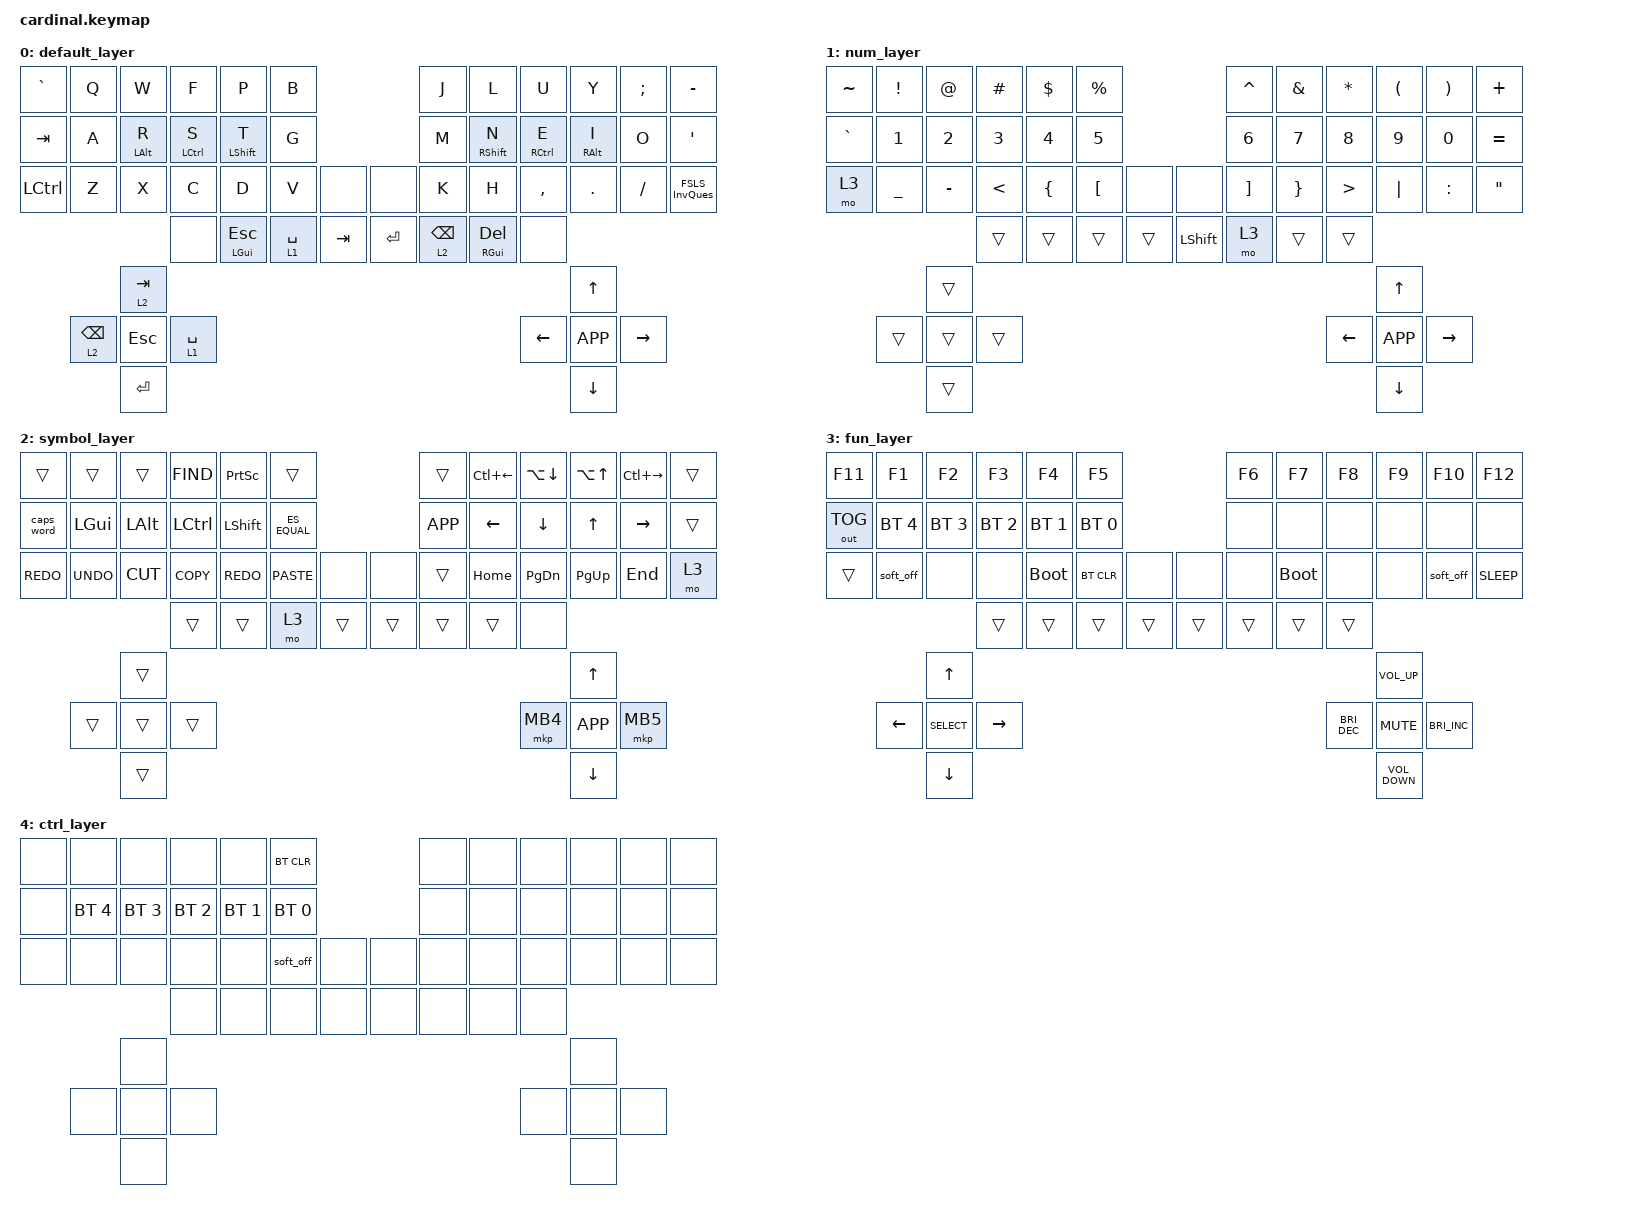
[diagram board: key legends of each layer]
//Personal keymap, subject to weird things, heavy use of helpers intended, and sticky keys, and use with spanish layout, 
// im sorry but having in the same key (,;) and (.:) its way better than (,<) and (.>), other things may not make sense

#include "keys_es.h"

//Support for key helpers, hillside fits perfectly because of the 42 base keys plus the encoders,
// LH4, RH4, LH3 and RH3 are the encoders clickdown

#include "zmk-helpers/helper.h"
#include "zmk-helpers/key-labels/hillside46.h"
#include <dt-bindings/zmk/mouse.h>
#include <behaviors.dtsi>
#include <dt-bindings/zmk/bt.h>
#include <dt-bindings/zmk/keys.h>
#include <dt-bindings/zmk/outputs.h>
#include <dt-bindings/zmk/pointing.h>

// ╭─────────────────────────╮       ╭─────────────────────────╮
// │ LT5 LT4 LT3 LT2 LT1 LT0 │       │ RT0 RT1 RT2 RT3 RT4 RT5 │
// │ LM5 LM4 LM3 LM2 LM1 LM0 ╰──╮ ╭──╯ RM0 RM1 RM2 RM3 RM4 RM5 │
// │ LB5 LB4 LB3 LB2 LB1 LB0 LH4╰┬╯RH4 RB0 RB1 RB2 RB3 RB4 RB5 │
// ╰───────────╮ LH3 LH2 LH1 LH0 │ RH0 RH1 RH2 RH3 ╭───────────╯
//             ╰─────────────────┴─────────────────╯
// Also defining helpers for the 5-way switches, just in case I need then(probably not)

#define LU  46
#define LD  54
#define LL  48
#define LR  50
#define LCenter  49
#define RU  47
#define RD  55
#define RL  51
#define RR  53
#define RCenter  52

// Interesting feature, usefull for cases with hard to reach on/off switches

&soft_off {
    hold-time-ms = <5000>; // Only turn off it the key is held for 5 seconds or longer.
};

/ {
    combos {
        compatible = "zmk,combos";

        ctrlayer {
            timeout-ms = <70>;
            key-positions = <LH2 RH2>;
            bindings = <&sl 4>;
        };

        funlayerR {
            timeout-ms = <70>;
            key-positions = <RH2 RH1>;
            bindings = <&sl 3>;
        };

        funlayerL {
            timeout-ms = <70>;
            key-positions = <LH2 LH1>;
            bindings = <&sl 3>;
        };
    };

    behaviors {
        change_tab: change_tab {
            compatible = "zmk,behavior-sensor-rotate";
            #sensor-binding-cells = <0>;
            bindings = <&kp LC(LS(TAB))>, <&kp LC(TAB)>;
        };

        shcps: shcps {
            compatible = "zmk,behavior-hold-tap";
            bindings = <&kp>, <&sk>;

            #binding-cells = <2>;
            flavor = "tap-preferred";
            tapping-term-ms = <200>;
            quick-tap-ms = <125>;
        };

        es_til_sqt: es_tilde_squote {
            //Custom tap dance, in spanish tilde (á) is common, not so much squote(I'm) so this convines both keys with similar usages, 
            //also integrates ? into the mix(shifted squote) which is pretty nice imho 

            compatible = "zmk,behavior-tap-dance";
            #binding-cells = <0>;
            tapping-term-ms = <180>;
            bindings = <&kp ES_ACUTE>, <&kp ES_SQT>;
        };

        smart_shift: smart_shift {
            compatible = "zmk,behavior-tap-dance";
            #binding-cells = <0>;
            tapping-term-ms = <180>;
            bindings = <&sk LSHFT>, <&caps_word>;
        };

        FSLS_InvQues: FSLS_InvQues {
            compatible = "zmk,behavior-mod-morph";
            label = "\¿";
            bindings = <&kp BSLH>, <&kp ES_INVERTED_QUESTION>;

            #binding-cells = <0>;
            mods = <(MOD_LSFT)>;
        };

        rpiL: rpiL {
            compatible = "zmk,behavior-hold-tap";
            label = "require_prior_idleL";
            bindings = <&kp>, <&kp>;

            #binding-cells = <2>;
            tapping-term-ms = <200>;
            quick-tap-ms = <125>;
            require-prior-idle-ms = <125>;
            flavor = "tap-preferred";
            hold-trigger-key-positions = <6 7 8 9 10 11 18 19 21 22 23 33 34 35 36 37 32 20 44 43 42 51 53 47 55>;
        };

        rpiR: rpiR {
            compatible = "zmk,behavior-hold-tap";
            label = "require_prior_idleR";
            bindings = <&kp>, <&kp>;

            #binding-cells = <2>;
            tapping-term-ms = <200>;
            quick-tap-ms = <125>;
            require-prior-idle-ms = <125>;
            flavor = "tap-preferred";
            hold-trigger-key-positions = <0 1 2 3 4 5 12 13 14 15 16 17 24 25 26 27 28 29 39 40 41 46 48 50 54>;
        };
    };

    keymap {
        compatible = "zmk,keymap";

        default_layer {
            // --------------------------------------------------------------------------------------------------------------------------------------------------------------------
            // Default layer, pretty standar
            //   |    `    |    Q    |    W    |    F    |    P    |    B    |                       |    J    |    L    |    U    |    Y    |    ;    |   DEL  |
            //   |   TAB   |  GUI/A  |  ALT/R  | CTRL/S  | SHFT/T  |    G    |                       |    M    | SHFT/N  |  CTRL/E |  ALT/I  |  GUI/O  |    '   |
            //   |  RALT   |    Z    |    X    |    C    |    D    |    V    |  none   |   | Play/P  |    K    |    H    |    ,    |    .    |    /    |    \   |
            //                                 |  WinTab | NumLayer|  BSPC   |  LCRTL  |   |  SHIFT  |  SPACE  |   SymLayer |   none  |
            // (5 way)     

            bindings = <
&kp GRAVE  &kp Q            &kp W             &kp F          &kp P               &kp B                             &kp J            &kp L                &kp U          &kp Y              &kp SEMI   &kp MINUS
&kp TAB    &kp A            &rpiL LEFT_ALT R  &rpiL LCTRL S  &rpiL LEFT_SHIFT T  &kp G                             &kp M            &rpiR RIGHT_SHIFT N  &rpiR RCTRL E  &rpiR RIGHT_ALT I  &kp O      &kp APOS
&kp LCTRL  &kp Z            &kp X             &kp C          &kp D               &kp V        &none    &none       &kp K            &kp H                &kp COMMA      &kp DOT            &kp FSLH   &FSLS_InvQues
                                              &none          &mt LEFT_GUI ESC    &lt 1 SPACE  &kp TAB  &kp RETURN  &lt 2 BACKSPACE  &mt RIGHT_GUI DEL    &none
                            &lt 2 TAB                                                                                                                                   &kp UP
           &lt 2 BACKSPACE  &kp ESC           &lt 1 SPACE                                                                                                &kp LEFT       &kp K_APP          &kp RIGHT
                            &kp ENTER                                                                                                                                   &kp DOWN
            >;
        };

        num_layer {
            // --------------------------------------------------------------------------------------------------------------------------------------------------------------------
            // Num layer, pretty sparce
            //   |   ESC   |    1    |    2    |    3    |    4    |    5    |                       |    6    |    7    |    8    |    9    |    0    |  BSPC   |
            //   |   TAB   |         |         |         |         |         |                       |         |         |         |         |         |    `    |
            //   |  RALT   |         |         |         |         |         |  none   |   | Play/P  |         |         |         |    ·    |         |  Enter  |
            //                                 |  WinTab | NumLayer|  BSPC   |  LCRTL  |   |  SHIFT  |  SPACE  |   SymLayer |   none  |
            // (5 way)     

            bindings = <
&kp TILDE  &kp EXCL   &kp AT     &kp HASH  &kp DLLR  &kp PRCNT                          &kp CARET  &kp AMPS  &kp ASTRK       &kp LPAR   &kp RPAR   &kp PLUS
&kp GRAVE  &kp N1     &kp N2     &kp N3    &kp N4    &kp N5                             &kp N6     &kp N7    &kp N8          &kp N9     &kp N0     &kp EQUAL
&mo 3      &kp UNDER  &kp MINUS  &kp LT    &kp LBRC  &kp LBKT   &none   &none           &kp RBKT   &kp RBRC  &kp GT          &kp PIPE   &kp COLON  &kp DQT
                                 &trans    &trans    &trans     &trans  &kp LEFT_SHIFT  &mo 3      &trans    &trans
                      &trans                                                                                                 &kp UP
           &trans     &trans     &trans                                                                      &kp LEFT_ARROW  &kp K_APP  &kp RIGHT
                      &trans                                                                                                 &kp DOWN
            >;
        };

        symbol_layer {
            // --------------------------------------------------------------------------------------------------------------------------------------------------------------------
            // Symbol layer, trying to maintain shft+number positions of spanish layout, and adding the rest in more or less nice position
            //   |   ESC   |    !    |    @    |    #    |    ~    |    %    |                       |    &    |    /    |    (    |    )    |    ?    |   BSPC   |
            //   |   TAB   |    ¡    |    +    |    *    |    ^    |    =    |                       |    ¬    |    |    |    [    |    ]    |    ¿    |    "     |
            //   |  RALT   |    <    |    >    |    º    |    ª    |    ç    |  none   |   | Play/P  |    "    |    \    |    {    |    }    |         |  ENTER   |
            //                                 |  WinTab | NumLayer|  BSPC   |  LCRTL  |   |  SHIFT  |  SPACE  | SymLayer |   none  |
            // (5 way)     

            bindings = <
&trans      &trans        &trans        &kp K_FIND  &kp PRINTSCREEN  &trans                        &trans     &kp LC(LEFT)  &kp LA(DOWN)   &kp LA(UP)  &kp LC(RIGHT)  &trans
&caps_word  &kp LEFT_GUI  &kp LEFT_ALT  &kp LCTRL   &kp LEFT_SHIFT   &kp ES_EQUAL                  &kp K_APP  &kp LEFT      &kp DOWN       &kp UP      &kp RIGHT      &trans
&kp K_REDO  &kp K_UNDO    &kp K_CUT     &kp K_COPY  &kp K_REDO       &kp K_PASTE   &none   &none   &trans     &kp HOME      &kp PAGE_DOWN  &kp PG_UP   &kp END        &mo 3
                                        &trans      &trans           &mo 3         &trans  &trans  &trans     &trans        &none
                          &trans                                                                                                           &kp UP
            &trans        &trans        &trans                                                                              &mkp MB4       &kp K_APP   &mkp MB5
                          &trans                                                                                                           &kp DOWN
            >;
        };

        fun_layer {
            // --------------------------------------------------------------------------------------------------------------------------------------------------------------------
            // Function layer plus extra symbols, things i dont use
            //   |   F11   |   F1    |    F2   |    F3   |    F4   |   F5    |                       |    F6   |    F7   |    F8   |    F9   |    F20  |    F12  |
            //   |   TAB   |         |         |         |         |         |                       |         |         |         |         |         |         |
            //   |  RALT   |         |         |         |         |         |  none   |   | Play/P  |         |         |         |         |         |  ENTER  |
            //                                 |  WinTab | NumLayer|  BSPC   |  LCRTL  |   |  SHIFT  |  SPACE  | SymLayer |   none  |
            // (5 way)     

            bindings = <
&kp F11       &kp F1        &kp F2        &kp F3        &kp F4        &kp F5                        &kp F6  &kp F7       &kp F8                &kp F9             &kp F10               &kp F12
&out OUT_TOG  &bt BT_SEL 4  &bt BT_SEL 3  &bt BT_SEL 2  &bt BT_SEL 1  &bt BT_SEL 0                  &none   &none        &none                 &none              &none                 &none
&trans        &soft_off     &none         &none         &bootloader   &bt BT_CLR    &none   &none   &none   &bootloader  &none                 &none              &soft_off             &kp K_SLEEP
                                          &trans        &trans        &trans        &trans  &trans  &trans  &trans       &trans
                            &kp UP                                                                                                             &kp C_VOL_UP
              &kp LEFT      &kp K_SELECT  &kp RIGHT                                                                      &kp C_BRIGHTNESS_DEC  &kp K_MUTE         &kp C_BRIGHTNESS_INC
                            &kp DOWN                                                                                                           &kp C_VOLUME_DOWN
            >;
        };

        ctrl_layer {
            // --------------------------------------------------------------------------------------------------------------------------------------------------------------------
            // Control layer for the keyboard, bt and soft off
            //   |       |         |         |        |        |  BTCLEAR |               |         |         |         |         |         |         |
            //   |       |   BT4   |    BT3  |   BT2  |   BT1  |    BT0   |               |         |         |         |         |         |         |
            //   |       |         |         |        |        | SOFT_OFF |     |   |     |         |         |         |         |         |         |
            //                               |        |        |          |     |   |     |         |         |         |
            // (5 way)     

            bindings = <
&none  &none         &none         &none         &none         &bt BT_CLR                  &none  &none  &none  &none  &none  &none
&none  &bt BT_SEL 4  &bt BT_SEL 3  &bt BT_SEL 2  &bt BT_SEL 1  &bt BT_SEL 0                &none  &none  &none  &none  &none  &none
&none  &none         &none         &none         &none         &soft_off     &none  &none  &none  &none  &none  &none  &none  &none
                                   &none         &none         &none         &none  &none  &none  &none  &none
                     &none                                                                                      &none
       &none         &none         &none                                                                 &none  &none  &none
                     &none                                                                                      &none
            >;
        };
    };
};
